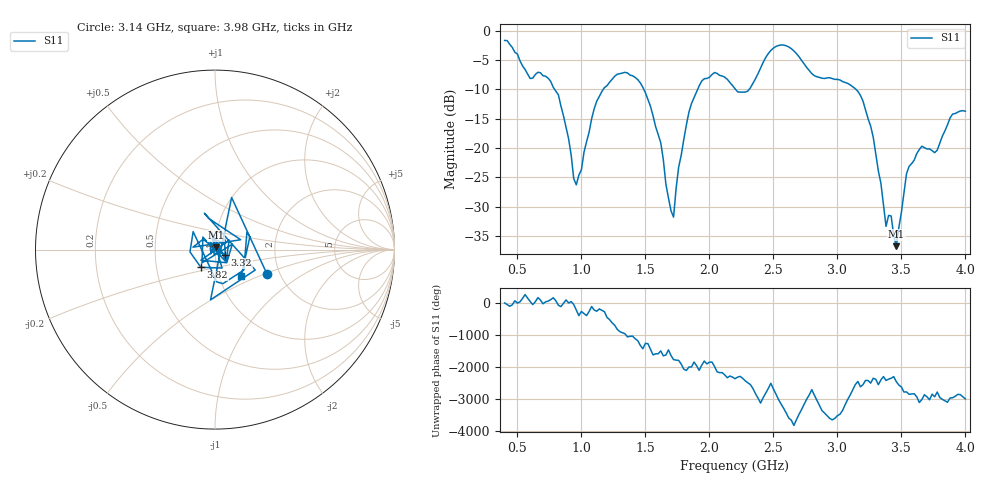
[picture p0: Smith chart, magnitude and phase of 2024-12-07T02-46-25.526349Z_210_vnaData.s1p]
!Created with skrf (http://scikit-rf.org).
# Hz S RI R 50.0
!freq ReS11 ImS11
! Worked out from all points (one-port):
!   181 points, 400 MHz to 4 GHz, reference 50 ohm
!   lowest |S11| = -36.8 dB at 3.46 GHz (marker M1), VSWR 1.03, Z = 50.6 + j1.35 ohm
!   |S11| at or under -10 dB: 791.2 MHz to 1.17 GHz (379.2 MHz wide, 38.7 % of centre); 1.488 GHz to 1.908 GHz (420.2 MHz wide, 24.7 % of centre); 3.146 GHz to end of sweep (the widest 3 of 4)
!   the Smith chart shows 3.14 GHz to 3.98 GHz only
!   S11 on the Smith chart (normalised r, x): 3.14 GHz: 1.72, -0.52; 3.32 GHz: 1.12, -0.07; 3.82 GHz: 0.84, -0.17; 3.98 GHz: 1.27, -0.40
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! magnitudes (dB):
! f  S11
! 400 MHz  -1.6
! 600 MHz  -8.1
! 760 MHz  -8.6
! 860 MHz  -14.5
! 960 MHz  -26.3
! 1.12 GHz  -12.0
! 1.3 GHz  -7.3
! 1.5 GHz  -10.6
! 1.62 GHz  -19.1
! 1.72 GHz  -31.8
! 1.76 GHz  -23.3
! 1.84 GHz  -13.9
! 1.94 GHz  -8.6
! 2.2 GHz  -9.9
! 2.3 GHz  -10.3
! 2.52 GHz  -2.7
! 2.66 GHz  -3.4
! 3.1 GHz  -9.2
! 3.14 GHz  -9.9
! 3.26 GHz  -16.3
! 3.32 GHz  -23.9
! 3.38 GHz  -33.4
! 3.42 GHz  -31.6
! 3.46 GHz  -36.8
! 3.56 GHz  -23.2
! 3.82 GHz  -18.0
! 3.98 GHz  -13.6
! 4 GHz  -13.7
